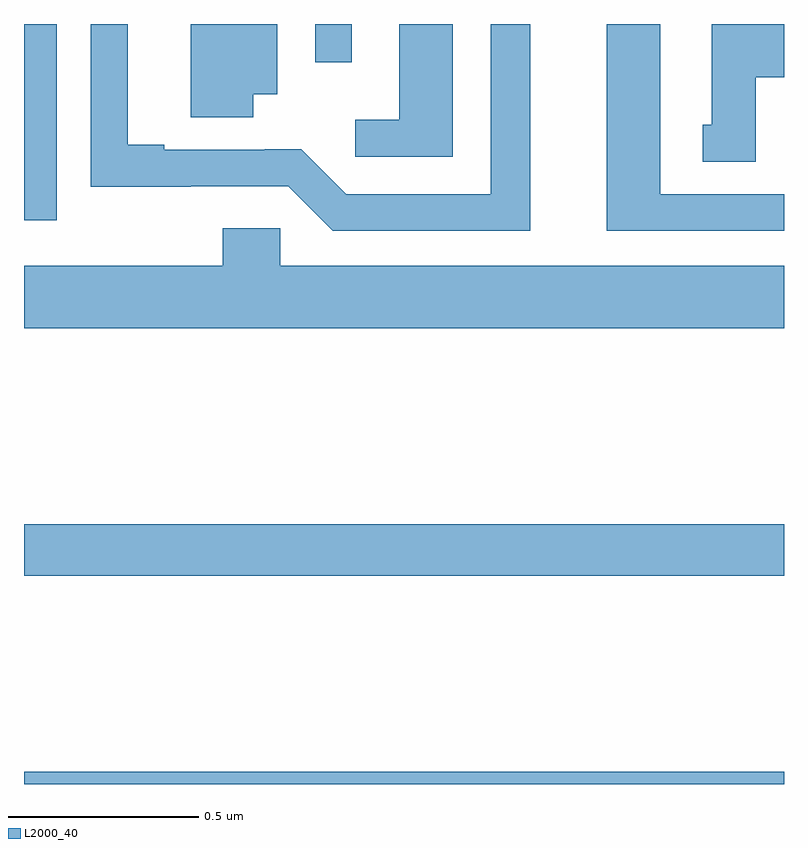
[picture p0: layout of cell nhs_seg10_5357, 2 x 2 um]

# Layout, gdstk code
import gdstk
lib = gdstk.Library(unit=1e-6, precision=1e-09)
def R(c, l, rs):  # rectangles x0, y0, x1, y1
    for r in rs: c.add(gdstk.rectangle(r[:2], r[2:], *l))
def P(c, l, *ps):  # polygons
    for p in ps: c.add(gdstk.Polygon(p, *l))
L2000_40 = (2000, 40)

nhs_seg10_5357 = lib.new_cell('nhs_seg10_5357')
R(nhs_seg10_5357, L2000_40, [(178,1248.5,180,1248.532), (178,1249.048,180,1249.184), (178,1249.983,178.086,1250.5), (178.767,1250.4,178.863,1250.5)])
P(nhs_seg10_5357, L2000_40, [(179.128,1250.5),(178.988,1250.5),(178.988,1250.248),(178.872,1250.248),(178.872,1250.151),(179.128,1250.151)],
  [(179.926,1250.36),(180,1250.36),(180,1250.5),(179.81,1250.5),(179.81,1250.235),(179.786,1250.235),(179.786,1250.137),(179.926,1250.137)],
  [(180,1250.052),(179.674,1250.052),(179.674,1250.5),(179.534,1250.5),(179.534,1249.956),(180,1249.956)],
  [(179.332,1250.5),(179.228,1250.5),(179.228,1250.052),(178.848,1250.052),(178.73,1250.17),(178.634,1250.17),(178.634,1250.169),(178.369,1250.169),(178.369,1250.182),(178.273,1250.182),(178.273,1250.5),(178.176,1250.5),(178.176,1250.072),(178.439,1250.072),(178.439,1250.073),(178.695,1250.073),(178.812,1249.956),(179.332,1249.956)],
  [(178.603,1250.315),(178.666,1250.315),(178.666,1250.5),(178.439,1250.5),(178.439,1250.254),(178.603,1250.254)],
  [(180,1249.864),(178.674,1249.864),(178.674,1249.962),(178.523,1249.962),(178.523,1249.864),(178,1249.864),(178,1249.7),(180,1249.7)])

lib.write_gds('nhs_seg10_5357.gds')
